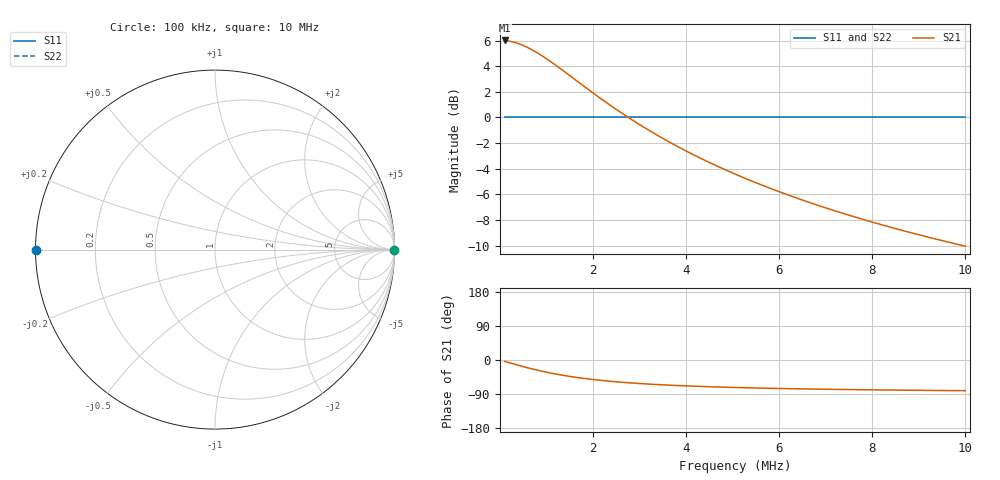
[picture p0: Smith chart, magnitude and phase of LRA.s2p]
# MHz MA S R 50.0
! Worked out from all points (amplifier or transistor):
!   100 points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, 100 kHz to 10 MHz, reference 50 ohm
!   highest |S21| = 6.0 dB at 100 kHz (marker M1)
!   |S21| within 3 dB of that: start of sweep to 1.594 MHz
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0.1  1 180.0  1.996 -3.6  0 -0.0  1 0.0
0.2  1 180.0  1.984 -7.2  0 -0.0  1 0.0
0.3  1 180.0  1.965 -10.7  0 -0.0  1 0.0
0.5  1 180.0  1.908 -17.4  0 -0.0  1 0.0
0.6  1 180.0  1.871 -20.7  0 -0.0  1 0.0
0.7  1 180.0  1.831 -23.7  0 -0.0  1 0.0
0.9  1 180.0  1.741 -29.5  0 -0.0  1 0.0
1.1  1 180.0  1.645 -34.7  0 -0.0  1 0.0
1.3  1 180.0  1.549 -39.2  0 -0.0  1 0.0
1.5  1 180.0  1.455 -43.3  0 -0.0  1 0.0
1.8  1 180.0  1.325 -48.5  0 -0.0  1 0.0
2.1  1 180.0  1.208 -52.8  0 -0.0  1 0.0
2.5  1 180.0  1.074 -57.5  0 -0.0  1 0.0
2.9  1 180.0  0.9622 -61.2  0 -0.0  1 0.0
3.4  1 180.0  0.8479 -64.9  0 -0.0  1 0.0
3.8  1 180.0  0.7726 -67.3  0 -0.0  1 0.0
4.2  1 180.0  0.7087 -69.2  0 -0.0  1 0.0
5.1  1 180.0  0.5958 -72.7  0 -0.0  1 0.0
5.8  1 180.0  0.5292 -74.7  0 -0.0  1 0.0
6.7  1 180.0  0.4622 -76.6  0 -0.0  1 0.0
8.4  1 180.0  0.3723 -79.3  0 -0.0  1 0.0
10  1 180.0  0.3144 -81.0  0 -0.0  1 0.0
